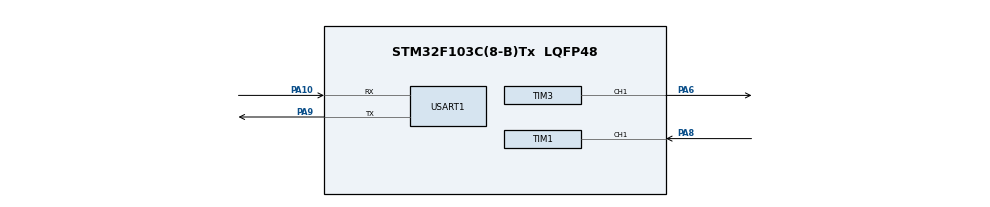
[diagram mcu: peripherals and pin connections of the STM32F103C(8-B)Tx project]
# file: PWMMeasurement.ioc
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Mcu.Family=STM32F1
Mcu.Name=STM32F103C(8-B)Tx
Mcu.Package=LQFP48
NVIC.PriorityGroup=NVIC_PRIORITYGROUP_4
PA10.Mode=Asynchronous
PA10.Signal=USART1_RX
PA13.Mode=Serial_Wire
PA13.Signal=SYS_JTMS-SWDIO
PA14.Mode=Serial_Wire
PA14.Signal=SYS_JTCK-SWCLK
PA6.Signal=S_TIM3_CH1
PA8.Signal=S_TIM1_CH1
PA9.Mode=Asynchronous
PA9.Signal=USART1_TX
ProjectManager.HeapSize=0x200
ProjectManager.StackSize=0x400
ProjectManager.TargetToolchain=MDK-ARM V5.32
RCC.APB1Freq_Value=8000000
RCC.APB2Freq_Value=8000000
SH.S_TIM1_CH1.0=TIM1_CH1,Input_Capture1_from_TI1
SH.S_TIM1_CH1.1=TIM1_CH1,TriggerSource_TI1FP1
SH.S_TIM3_CH1.0=TIM3_CH1,PWM Generation1 CH1
TIM1.AutoReloadPreload=TIM_AUTORELOAD_PRELOAD_ENABLE
TIM1.Channel-Input_Capture1_from_TI1=TIM_CHANNEL_1
TIM1.Channel-Input_Capture2_from_TI1_63=TIM_CHANNEL_2
TIM1.ICPolarity_CH2=TIM_INPUTCHANNELPOLARITY_FALLING
TIM1.Prescaler=7
TIM3.AutoReloadPreload=TIM_AUTORELOAD_PRELOAD_ENABLE
TIM3.Channel-PWM\ Generation1\ CH1=TIM_CHANNEL_1
TIM3.Period=999
TIM3.Prescaler=7
TIM3.Pulse-PWM\ Generation1\ CH1=200
USART1.VirtualMode=VM_ASYNC
VP_TIM1_VS_ClockSourceINT.Mode=Internal
VP_TIM1_VS_ControllerModeReset.Mode=Reset Mode
VP_TIM1_VS_indirect_ch1.Mode=Input_Capture2_from_TI1_63
VP_TIM3_VS_ClockSourceINT.Mode=Internal
board=custom

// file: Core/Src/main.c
/* USER CODE BEGIN Header */
/**
  ******************************************************************************
  * @file           : main.c
  * @brief          : Main program body
  ******************************************************************************
  * @attention
  *
  * Copyright (c) 2026 STMicroelectronics.
  * All rights reserved.
  *
  * This software is licensed under terms that can be found in the LICENSE file
  * in the root directory of this software component.
  * If no LICENSE file comes with this software, it is provided AS-IS.
  *
  ******************************************************************************
  */
/* USER CODE END Header */
#include "main.h"

TIM_HandleTypeDef htim1;
TIM_HandleTypeDef htim3;

UART_HandleTypeDef huart1;

void SystemClock_Config(void);
static void MX_GPIO_Init(void);
static void MX_USART1_UART_Init(void);
static void MX_TIM3_Init(void);
static void MX_TIM1_Init(void);

/* USER CODE BEGIN 0 */
#include <stdarg.h>
#include <stdio.h>
#include <string.h>

static void UART_Printf(const char *format, ...)
{
    char tmp[128];
    va_list argptr;
    va_start(argptr, format);
    vsprintf((char *)tmp, format, argptr);
    va_end(argptr);

    HAL_UART_Transmit(&huart1, (const uint8_t *)&tmp, strlen(tmp), HAL_MAX_DELAY);
}
/* USER CODE END 0 */

int main(void)
{

  /* MCU Configuration--------------------------------------------------------*/

  /* Reset of all peripherals, Initializes the Flash interface and the Systick. */
  HAL_Init();

  /* Configure the system clock */
  SystemClock_Config();

  /* Initialize all configured peripherals */
  MX_GPIO_Init();
  MX_USART1_UART_Init();
  MX_TIM3_Init();
  MX_TIM1_Init();
  /* USER CODE BEGIN 2 */
//HAL_UART_Transmit(&huart1,(const uint8_t *)"你好世界",12,HAL_MAX_DELAY);
  HAL_TIM_PWM_Start(&htim3,TIM_CHANNEL_1);

  /* USER CODE END 2 */

  /* Infinite loop */
  /* USER CODE BEGIN WHILE */
  while (1)
  {
		__HAL_TIM_CLEAR_FLAG(&htim1,TIM_FLAG_CC1);//清除cc1标志位

		HAL_TIM_IC_Start(&htim1,TIM_CHANNEL_1);//开启定时器
		HAL_TIM_IC_Start(&htim1,TIM_CHANNEL_2);

		//等待cc1标志位再次清处
		while(__HAL_TIM_GET_FLAG(&htim1,TIM_FLAG_CC1)==0);
		__HAL_TIM_CLEAR_FLAG(&htim1,TIM_FLAG_CC1);

		//在此等待标志位
		while(__HAL_TIM_GET_FLAG(&htim1,TIM_FLAG_CC1)==0);

		//停止定时器
		HAL_TIM_IC_Stop(&htim1,TIM_CHANNEL_1);
		HAL_TIM_IC_Stop(&htim1,TIM_CHANNEL_2);

		//计算测量结果
		uint16_t ccr1=__HAL_TIM_GET_COMPARE(&htim1,TIM_CHANNEL_1);
		uint16_t ccr2=__HAL_TIM_GET_COMPARE(&htim1,TIM_CHANNEL_2);

		float period =ccr1*1e-6;
		float pulseWidth=ccr2*1e-6;
		float duty=pulseWidth / period;

		UART_Printf("脉宽 = %.1fus, 周期 = %.1fus, 占空比 = %.1f%%",
            pulseWidth*1e6f, period*1e6f, duty*100.0f);

		HAL_Delay(500);
    /* USER CODE END WHILE */

  }
}

void SystemClock_Config(void)
{
  RCC_OscInitTypeDef RCC_OscInitStruct = {0};
  RCC_ClkInitTypeDef RCC_ClkInitStruct = {0};

  /** Initializes the RCC Oscillators according to the specified parameters
  * in the RCC_OscInitTypeDef structure.
  */
  RCC_OscInitStruct.OscillatorType = RCC_OSCILLATORTYPE_HSI;
  RCC_OscInitStruct.HSIState = RCC_HSI_ON;
  RCC_OscInitStruct.HSICalibrationValue = RCC_HSICALIBRATION_DEFAULT;
  RCC_OscInitStruct.PLL.PLLState = RCC_PLL_NONE;
  if (HAL_RCC_OscConfig(&RCC_OscInitStruct) != HAL_OK)
  {
    Error_Handler();
  }

  /** Initializes the CPU, AHB and APB buses clocks
  */
  RCC_ClkInitStruct.ClockType = RCC_CLOCKTYPE_HCLK|RCC_CLOCKTYPE_SYSCLK
                              |RCC_CLOCKTYPE_PCLK1|RCC_CLOCKTYPE_PCLK2;
  RCC_ClkInitStruct.SYSCLKSource = RCC_SYSCLKSOURCE_HSI;
  RCC_ClkInitStruct.AHBCLKDivider = RCC_SYSCLK_DIV1;
  RCC_ClkInitStruct.APB1CLKDivider = RCC_HCLK_DIV1;
  RCC_ClkInitStruct.APB2CLKDivider = RCC_HCLK_DIV1;

  if (HAL_RCC_ClockConfig(&RCC_ClkInitStruct, FLASH_LATENCY_0) != HAL_OK)
  {
    Error_Handler();
  }
}

static void MX_TIM1_Init(void)
{

  TIM_ClockConfigTypeDef sClockSourceConfig = {0};
  TIM_SlaveConfigTypeDef sSlaveConfig = {0};
  TIM_MasterConfigTypeDef sMasterConfig = {0};
  TIM_IC_InitTypeDef sConfigIC = {0};

  htim1.Instance = TIM1;
  htim1.Init.Prescaler = 7;
  htim1.Init.CounterMode = TIM_COUNTERMODE_UP;
  htim1.Init.Period = 65535;
  htim1.Init.ClockDivision = TIM_CLOCKDIVISION_DIV1;
  htim1.Init.RepetitionCounter = 0;
  htim1.Init.AutoReloadPreload = TIM_AUTORELOAD_PRELOAD_ENABLE;
  if (HAL_TIM_Base_Init(&htim1) != HAL_OK)
  {
    Error_Handler();
  }
  sClockSourceConfig.ClockSource = TIM_CLOCKSOURCE_INTERNAL;
  if (HAL_TIM_ConfigClockSource(&htim1, &sClockSourceConfig) != HAL_OK)
  {
    Error_Handler();
  }
  if (HAL_TIM_IC_Init(&htim1) != HAL_OK)
  {
    Error_Handler();
  }
  sSlaveConfig.SlaveMode = TIM_SLAVEMODE_RESET;
  sSlaveConfig.InputTrigger = TIM_TS_TI1FP1;
  sSlaveConfig.TriggerPolarity = TIM_INPUTCHANNELPOLARITY_RISING;
  sSlaveConfig.TriggerFilter = 0;
  if (HAL_TIM_SlaveConfigSynchro(&htim1, &sSlaveConfig) != HAL_OK)
  {
    Error_Handler();
  }
  sMasterConfig.MasterOutputTrigger = TIM_TRGO_RESET;
  sMasterConfig.MasterSlaveMode = TIM_MASTERSLAVEMODE_DISABLE;
  if (HAL_TIMEx_MasterConfigSynchronization(&htim1, &sMasterConfig) != HAL_OK)
  {
    Error_Handler();
  }
  sConfigIC.ICPolarity = TIM_INPUTCHANNELPOLARITY_RISING;
  sConfigIC.ICSelection = TIM_ICSELECTION_DIRECTTI;
  sConfigIC.ICPrescaler = TIM_ICPSC_DIV1;
  sConfigIC.ICFilter = 0;
  if (HAL_TIM_IC_ConfigChannel(&htim1, &sConfigIC, TIM_CHANNEL_1) != HAL_OK)
  {
    Error_Handler();
  }
  sConfigIC.ICPolarity = TIM_INPUTCHANNELPOLARITY_FALLING;
  sConfigIC.ICSelection = TIM_ICSELECTION_INDIRECTTI;
  if (HAL_TIM_IC_ConfigChannel(&htim1, &sConfigIC, TIM_CHANNEL_2) != HAL_OK)
  {
    Error_Handler();
  }

}

static void MX_TIM3_Init(void)
{

  TIM_ClockConfigTypeDef sClockSourceConfig = {0};
  TIM_MasterConfigTypeDef sMasterConfig = {0};
  TIM_OC_InitTypeDef sConfigOC = {0};

  htim3.Instance = TIM3;
  htim3.Init.Prescaler = 7;
  htim3.Init.CounterMode = TIM_COUNTERMODE_UP;
  htim3.Init.Period = 999;
  htim3.Init.ClockDivision = TIM_CLOCKDIVISION_DIV1;
  htim3.Init.AutoReloadPreload = TIM_AUTORELOAD_PRELOAD_ENABLE;
  if (HAL_TIM_Base_Init(&htim3) != HAL_OK)
  {
    Error_Handler();
  }
  sClockSourceConfig.ClockSource = TIM_CLOCKSOURCE_INTERNAL;
  if (HAL_TIM_ConfigClockSource(&htim3, &sClockSourceConfig) != HAL_OK)
  {
    Error_Handler();
  }
  if (HAL_TIM_PWM_Init(&htim3) != HAL_OK)
  {
    Error_Handler();
  }
  sMasterConfig.MasterOutputTrigger = TIM_TRGO_RESET;
  sMasterConfig.MasterSlaveMode = TIM_MASTERSLAVEMODE_DISABLE;
  if (HAL_TIMEx_MasterConfigSynchronization(&htim3, &sMasterConfig) != HAL_OK)
  {
    Error_Handler();
  }
  sConfigOC.OCMode = TIM_OCMODE_PWM1;
  sConfigOC.Pulse = 200;
  sConfigOC.OCPolarity = TIM_OCPOLARITY_HIGH;
  sConfigOC.OCFastMode = TIM_OCFAST_DISABLE;
  if (HAL_TIM_PWM_ConfigChannel(&htim3, &sConfigOC, TIM_CHANNEL_1) != HAL_OK)
  {
    Error_Handler();
  }
  HAL_TIM_MspPostInit(&htim3);

}

static void MX_USART1_UART_Init(void)
{

  huart1.Instance = USART1;
  huart1.Init.BaudRate = 115200;
  huart1.Init.WordLength = UART_WORDLENGTH_8B;
  huart1.Init.StopBits = UART_STOPBITS_1;
  huart1.Init.Parity = UART_PARITY_NONE;
  huart1.Init.Mode = UART_MODE_TX_RX;
  huart1.Init.HwFlowCtl = UART_HWCONTROL_NONE;
  huart1.Init.OverSampling = UART_OVERSAMPLING_16;
  if (HAL_UART_Init(&huart1) != HAL_OK)
  {
    Error_Handler();
  }

}

static void MX_GPIO_Init(void)
{

  /* GPIO Ports Clock Enable */
  __HAL_RCC_GPIOA_CLK_ENABLE();

}

void Error_Handler(void)
{
  __disable_irq();
  while (1)
  {
  }
}
